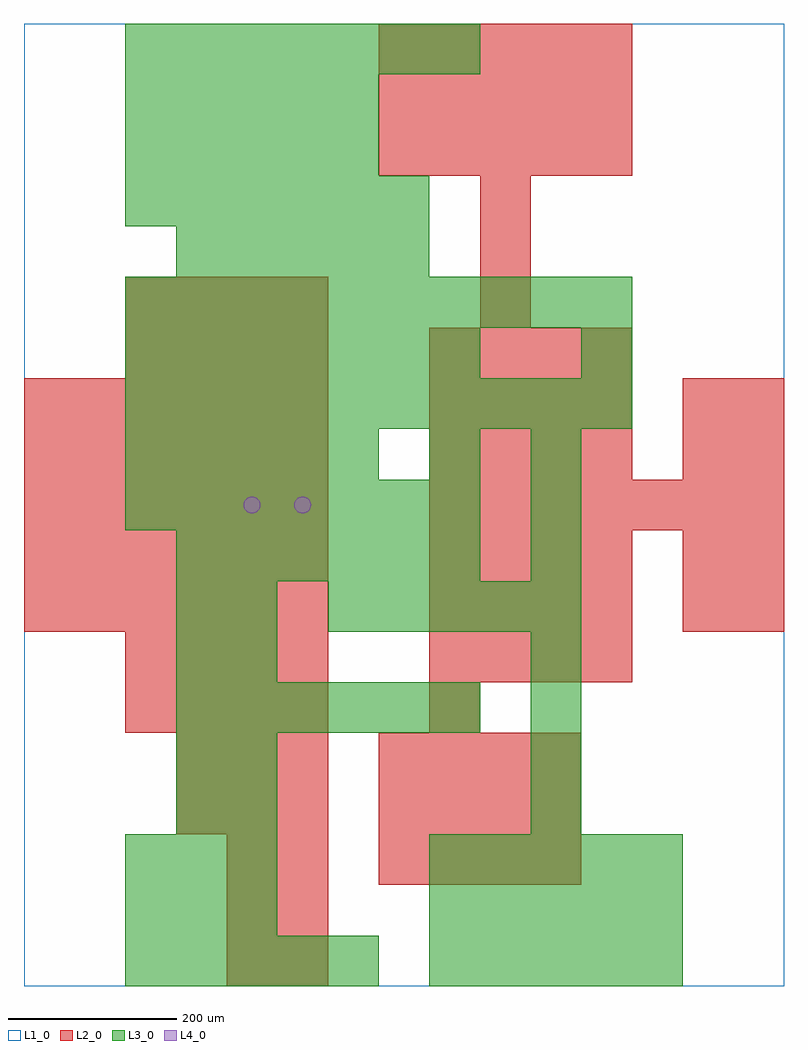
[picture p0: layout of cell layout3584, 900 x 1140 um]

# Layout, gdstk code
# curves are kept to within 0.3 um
import gdstk
lib = gdstk.Library(unit=1e-6, precision=1e-09)
def R(c, l, rs):  # rectangles x0, y0, x1, y1
    for r in rs: c.add(gdstk.rectangle(r[:2], r[2:], *l))
def A(c, l, x, y, w, h, nx, ny, dx, dy):  # array of equal rectangles
    R(c, l, [(x+i*dx, y+j*dy, x+i*dx+w, y+j*dy+h) for i in range(nx) for j in range(ny)])
def P(c, l, *ps):  # polygons
    for p in ps: c.add(gdstk.Polygon(p, *l))
L1_0 = (1, 0)
L2_0 = (2, 0)
L3_0 = (3, 0)
L4_0 = (4, 0)

layout3584 = lib.new_cell('layout3584')
R(layout3584, L1_0, [(0,0,900,1140)])
A(layout3584, L2_0, 240, 0, 60, 60, 1, 3, 0, 60)
A(layout3584, L2_0, 300, 0, 60, 60, 1, 3, 0, 60)
A(layout3584, L2_0, 420, 120, 60, 60, 4, 3, 60, 60)
A(layout3584, L2_0, 180, 180, 60, 60, 3, 2, 60, 60)
A(layout3584, L2_0, 120, 300, 60, 60, 4, 2, 60, 60)
A(layout3584, L2_0, 480, 360, 60, 60, 4, 3, 60, 60)
A(layout3584, L2_0, 0, 420, 60, 60, 6, 5, 60, 60)
A(layout3584, L2_0, 480, 540, 60, 60, 7, 1, 60, 0)
A(layout3584, L2_0, 480, 600, 60, 60, 4, 3, 60, 60)
A(layout3584, L2_0, 120, 720, 60, 60, 4, 2, 60, 60)
A(layout3584, L2_0, 540, 780, 60, 60, 1, 3, 0, 60)
A(layout3584, L2_0, 420, 960, 60, 60, 5, 3, 60, 60)
R(layout3584, L2_0, [(480,300,540,360), (780,420,840,480), (840,420,900,480), (780,480,840,540), (840,480,900,540), (780,600,840,660), (840,600,900,660), (780,660,840,720), (840,660,900,720)])
A(layout3584, L3_0, 120, 0, 60, 60, 5, 2, 60, 600)
A(layout3584, L3_0, 480, 0, 60, 60, 5, 3, 60, 60)
A(layout3584, L3_0, 120, 60, 60, 60, 3, 2, 60, 60)
A(layout3584, L3_0, 600, 180, 60, 60, 1, 4, 0, 60)
A(layout3584, L3_0, 180, 300, 60, 60, 6, 2, 60, 180)
A(layout3584, L3_0, 360, 420, 60, 60, 5, 1, 60, 0)
A(layout3584, L3_0, 600, 480, 60, 60, 1, 3, 0, 60)
A(layout3584, L3_0, 120, 540, 60, 60, 7, 2, 60, 180)
A(layout3584, L3_0, 120, 660, 60, 60, 10, 2, 60, 120)
A(layout3584, L3_0, 180, 840, 60, 60, 5, 1, 60, 0)
A(layout3584, L3_0, 120, 900, 60, 60, 6, 1, 60, 0)
A(layout3584, L3_0, 120, 960, 60, 60, 5, 2, 60, 60)
A(layout3584, L3_0, 120, 1080, 60, 60, 7, 1, 60, 0)
R(layout3584, L3_0, [(180,180,240,240), (240,180,300,240), (180,240,240,300), (240,240,300,300), (180,360,240,420), (240,360,300,420), (180,420,240,480), (240,420,300,480), (480,600,540,660), (660,720,720,780)])
P(layout3584, L4_0, [(280,570),(279.239,573.827),(277.071,577.071),(273.827,579.239),(270,580),(266.173,579.239),(262.929,577.071),(260.761,573.827),(260,570),(260.761,566.173),(262.929,562.929),(266.173,560.761),(270,560),(273.827,560.761),(277.071,562.929),(279.239,566.173)],
  [(340,570),(339.239,573.827),(337.071,577.071),(333.827,579.239),(330,580),(326.173,579.239),(322.929,577.071),(320.761,573.827),(320,570),(320.761,566.173),(322.929,562.929),(326.173,560.761),(330,560),(333.827,560.761),(337.071,562.929),(339.239,566.173)])

lib.write_gds('layout3584.gds')
